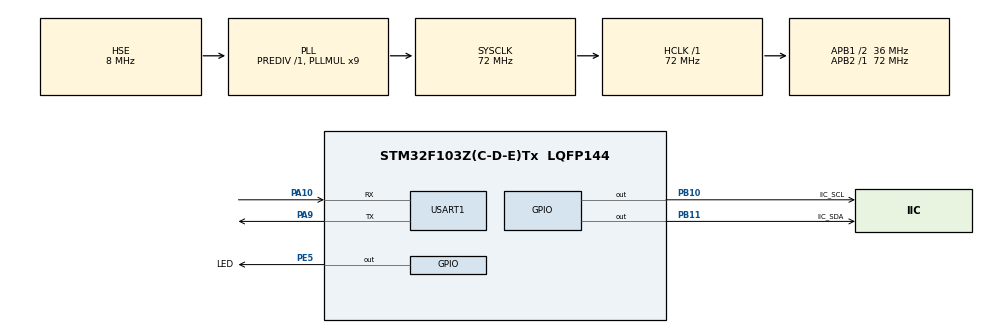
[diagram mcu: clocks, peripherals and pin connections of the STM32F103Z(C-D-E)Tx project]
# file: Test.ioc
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Mcu.Family=STM32F1
Mcu.Name=STM32F103Z(C-D-E)Tx
Mcu.Package=LQFP144
NVIC.PriorityGroup=NVIC_PRIORITYGROUP_4
NVIC.TIM7_IRQn=true\:1\:0\:true\:false\:true\:true\:true
OSC_IN.Mode=HSE-External-Oscillator
OSC_IN.Signal=RCC_OSC_IN
OSC_OUT.Mode=HSE-External-Oscillator
OSC_OUT.Signal=RCC_OSC_OUT
PA0-WKUP.Mode=SYS_WakeUp0
PA0-WKUP.Signal=SYS_WKUP
PA10.Mode=Asynchronous
PA10.Signal=USART1_RX
PA9.Mode=Asynchronous
PA9.Signal=USART1_TX
PB10.GPIO_Label=IIC_SCL
PB10.Signal=GPIO_Output
PB11.GPIO_Label=IIC_SDA
PB11.Signal=GPIO_Output
PE5.GPIO_Label=LED
PE5.Signal=GPIO_Output
ProjectManager.HeapSize=0x200
ProjectManager.StackSize=0x400
ProjectManager.TargetToolchain=MDK-ARM V5.27
RCC.AHBFreq_Value=72000000
RCC.APB1CLKDivider=RCC_HCLK_DIV2
RCC.APB1Freq_Value=36000000
RCC.APB1TimFreq_Value=72000000
RCC.APB2Freq_Value=72000000
RCC.APB2TimFreq_Value=72000000
RCC.HCLKFreq_Value=72000000
RCC.PLLMUL=RCC_PLL_MUL9
RCC.PLLSourceVirtual=RCC_PLLSOURCE_HSE
RCC.SYSCLKFreq_VALUE=72000000
RCC.SYSCLKSource=RCC_SYSCLKSOURCE_PLLCLK
RCC.USBFreq_Value=72000000
TIM7.Period=999
TIM7.Prescaler=7199
USART1.VirtualMode=VM_ASYNC
VP_SYS_VS_ND.Mode=No_Debug
VP_TIM7_VS_ClockSourceINT.Mode=Enable_Timer
board=custom

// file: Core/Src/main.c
/* USER CODE BEGIN Header */
/**
  ******************************************************************************
  * @file           : main.c
  * @brief          : Main program body
  ******************************************************************************
  * @attention
  *
  * <h2><center>&copy; Copyright (c) 2021 STMicroelectronics.
  * All rights reserved.</center></h2>
  *
  * This software component is licensed by ST under BSD 3-Clause license,
  * the "License"; You may not use this file except in compliance with the
  * License. You may obtain a copy of the License at:
  *                        opensource.org/licenses/BSD-3-Clause
  *
  ******************************************************************************
  */
/* USER CODE END Header */
#include "main.h"

/* USER CODE BEGIN Includes */
#include "debug.h"
#include "led.h"
#include "mpu6050.h"

/* USER CODE END Includes */

TIM_HandleTypeDef htim7;

UART_HandleTypeDef huart1;

void SystemClock_Config(void);
static void MX_GPIO_Init(void);
static void MX_TIM7_Init(void);
static void MX_USART1_UART_Init(void);

/* USER CODE BEGIN 0 */
void Enter_StandBy(void)
{

    /* 禁用所有唤醒源: 唤醒引脚PA0 */
    HAL_PWR_DisableWakeUpPin(PWR_WAKEUP_PIN1);

    /* 清除所有唤醒标志位 */
    __HAL_PWR_CLEAR_FLAG(PWR_FLAG_WU);

    /* 使能唤醒引脚：PA0做为系统唤醒输入 */
    HAL_PWR_EnableWakeUpPin(PWR_WAKEUP_PIN1);

    /* 进入待机模式 后面的操作不再执行*/
    HAL_PWR_EnterSTANDBYMode();

}

void HAL_TIM_PeriodElapsedCallback(TIM_HandleTypeDef* htim)
{
    static int count = 0;
	uint8_t buf[1];

    if(htim == (&htim7))
    {
        if(count++ >= 60)//6s进入待机
        {
            count = 0;
			MPU_Read_Len(MPU_ADDR, MPU_INT_STA_REG, 1, buf);//清楚中断（INT由高变低）
            Enter_StandBy();
        }
    }
}

/* USER CODE END 0 */

int main(void)
{

    /* MCU Configuration--------------------------------------------------------*/

    /* Reset of all peripherals, Initializes the Flash interface and the Systick. */
    HAL_Init();

    /* Configure the system clock */
    SystemClock_Config();

    /* Initialize all configured peripherals */
    MX_GPIO_Init();
    MX_TIM7_Init();
    MX_USART1_UART_Init();
    /* USER CODE BEGIN 2 */
    HAL_TIM_Base_Start_IT(&htim7);
    short aacx, aacy, aacz, temp;
    while(MPU_Init())					//初始化MPU6050
    {
        printf("error\r\n");
    }
	MPU_INT_Init();

    /* USER CODE END 2 */

    /* Infinite loop */
    /* USER CODE BEGIN WHILE */
    while(1)
    {
        temp = MPU_Get_Temperature();	//得到温度值
        MPU_Get_Accelerometer(&aacx, &aacy, &aacz);	//得到加速度传感器数据
        printf("A%d\r\nB%d\r\nC%d\r\nD%d\r\n", temp, aacx, aacy, aacz);

        /* USER CODE END WHILE */

    }
}

void SystemClock_Config(void)
{
    RCC_OscInitTypeDef RCC_OscInitStruct = {0};
    RCC_ClkInitTypeDef RCC_ClkInitStruct = {0};

    /** Initializes the RCC Oscillators according to the specified parameters
    * in the RCC_OscInitTypeDef structure.
    */
    RCC_OscInitStruct.OscillatorType = RCC_OSCILLATORTYPE_HSE;
    RCC_OscInitStruct.HSEState = RCC_HSE_ON;
    RCC_OscInitStruct.HSEPredivValue = RCC_HSE_PREDIV_DIV1;
    RCC_OscInitStruct.HSIState = RCC_HSI_ON;
    RCC_OscInitStruct.PLL.PLLState = RCC_PLL_ON;
    RCC_OscInitStruct.PLL.PLLSource = RCC_PLLSOURCE_HSE;
    RCC_OscInitStruct.PLL.PLLMUL = RCC_PLL_MUL9;
    if(HAL_RCC_OscConfig(&RCC_OscInitStruct) != HAL_OK)
    {
        Error_Handler();
    }
    /** Initializes the CPU, AHB and APB buses clocks
    */
    RCC_ClkInitStruct.ClockType = RCC_CLOCKTYPE_HCLK | RCC_CLOCKTYPE_SYSCLK
                                  | RCC_CLOCKTYPE_PCLK1 | RCC_CLOCKTYPE_PCLK2;
    RCC_ClkInitStruct.SYSCLKSource = RCC_SYSCLKSOURCE_PLLCLK;
    RCC_ClkInitStruct.AHBCLKDivider = RCC_SYSCLK_DIV1;
    RCC_ClkInitStruct.APB1CLKDivider = RCC_HCLK_DIV2;
    RCC_ClkInitStruct.APB2CLKDivider = RCC_HCLK_DIV1;

    if(HAL_RCC_ClockConfig(&RCC_ClkInitStruct, FLASH_LATENCY_2) != HAL_OK)
    {
        Error_Handler();
    }
}

static void MX_TIM7_Init(void)
{

    TIM_MasterConfigTypeDef sMasterConfig = {0};

    htim7.Instance = TIM7;
    htim7.Init.Prescaler = 7199;
    htim7.Init.CounterMode = TIM_COUNTERMODE_UP;
    htim7.Init.Period = 999;
    htim7.Init.AutoReloadPreload = TIM_AUTORELOAD_PRELOAD_DISABLE;
    if(HAL_TIM_Base_Init(&htim7) != HAL_OK)
    {
        Error_Handler();
    }
    sMasterConfig.MasterOutputTrigger = TIM_TRGO_RESET;
    sMasterConfig.MasterSlaveMode = TIM_MASTERSLAVEMODE_DISABLE;
    if(HAL_TIMEx_MasterConfigSynchronization(&htim7, &sMasterConfig) != HAL_OK)
    {
        Error_Handler();
    }

}

static void MX_USART1_UART_Init(void)
{

    huart1.Instance = USART1;
    huart1.Init.BaudRate = 115200;
    huart1.Init.WordLength = UART_WORDLENGTH_8B;
    huart1.Init.StopBits = UART_STOPBITS_1;
    huart1.Init.Parity = UART_PARITY_NONE;
    huart1.Init.Mode = UART_MODE_TX_RX;
    huart1.Init.HwFlowCtl = UART_HWCONTROL_NONE;
    huart1.Init.OverSampling = UART_OVERSAMPLING_16;
    if(HAL_UART_Init(&huart1) != HAL_OK)
    {
        Error_Handler();
    }

}

static void MX_GPIO_Init(void)
{
    GPIO_InitTypeDef GPIO_InitStruct = {0};

    /* GPIO Ports Clock Enable */
    __HAL_RCC_GPIOE_CLK_ENABLE();
    __HAL_RCC_GPIOA_CLK_ENABLE();
    __HAL_RCC_GPIOB_CLK_ENABLE();

    /*Configure GPIO pin Output Level */
    HAL_GPIO_WritePin(LED_GPIO_Port, LED_Pin, GPIO_PIN_RESET);

    /*Configure GPIO pin Output Level */
    HAL_GPIO_WritePin(GPIOB, IIC_SCL_Pin | IIC_SDA_Pin, GPIO_PIN_SET);

    /*Configure GPIO pin : LED_Pin */
    GPIO_InitStruct.Pin = LED_Pin;
    GPIO_InitStruct.Mode = GPIO_MODE_OUTPUT_PP;
    GPIO_InitStruct.Pull = GPIO_NOPULL;
    GPIO_InitStruct.Speed = GPIO_SPEED_FREQ_LOW;
    HAL_GPIO_Init(LED_GPIO_Port, &GPIO_InitStruct);

    /*Configure GPIO pins : IIC_SCL_Pin IIC_SDA_Pin */
    GPIO_InitStruct.Pin = IIC_SCL_Pin | IIC_SDA_Pin;
    GPIO_InitStruct.Mode = GPIO_MODE_OUTPUT_PP;
    GPIO_InitStruct.Pull = GPIO_NOPULL;
    GPIO_InitStruct.Speed = GPIO_SPEED_FREQ_LOW;
    HAL_GPIO_Init(GPIOB, &GPIO_InitStruct);

}

void Error_Handler(void)
{
    __disable_irq();
    while(1)
    {
    }
}

/************************ (C) COPYRIGHT STMicroelectronics *****END OF FILE****/
